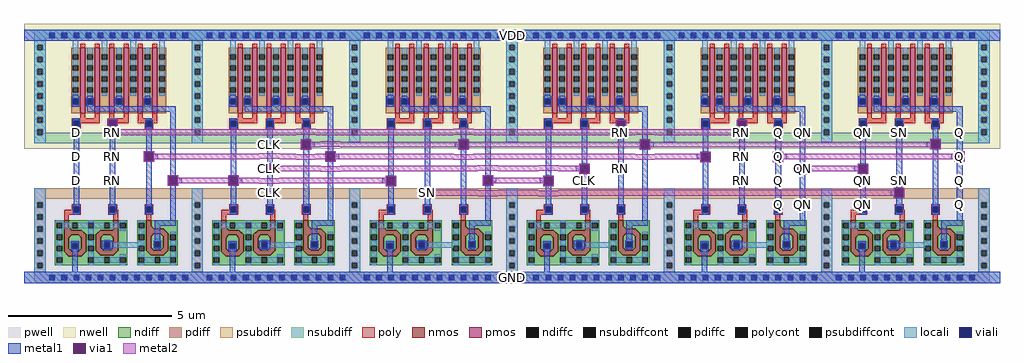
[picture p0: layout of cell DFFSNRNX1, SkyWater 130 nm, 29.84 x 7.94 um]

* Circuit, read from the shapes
.subckt DFFSNRNX1 Q QN D CLK SN RN VDD GND
XM1 n1 D GND GND sky130_fd_pr__nfet_01v8 w=2.6 l=0.1469
XM2 n1 RN n2 GND sky130_fd_pr__nfet_01v8 w=2.52 l=0.1484
XM3 n2 n3 n4 GND sky130_fd_pr__nfet_01v8 w=2.56 l=0.1468
XM4 n5 n4 GND GND sky130_fd_pr__nfet_01v8 w=2.6 l=0.1479
XM5 n5 CLK n6 GND sky130_fd_pr__nfet_01v8 w=2.52 l=0.1479
XM6 n6 n7 n3 GND sky130_fd_pr__nfet_01v8 w=2.56 l=0.1468
XM7 n8 n4 GND GND sky130_fd_pr__nfet_01v8 w=2.6 l=0.1474
XM8 n8 SN n9 GND sky130_fd_pr__nfet_01v8 w=2.52 l=0.1484
XM9 n9 n7 n10 GND sky130_fd_pr__nfet_01v8 w=2.56 l=0.1468
XM10 n11 n10 GND GND sky130_fd_pr__nfet_01v8 w=2.6 l=0.1473
XM11 n11 CLK n12 GND sky130_fd_pr__nfet_01v8 w=2.52 l=0.1483
XM12 n12 RN n7 GND sky130_fd_pr__nfet_01v8 w=2.56 l=0.1468
XM13 n13 n3 GND GND sky130_fd_pr__nfet_01v8 w=2.6 l=0.1472
XM14 n13 RN n14 GND sky130_fd_pr__nfet_01v8 w=2.52 l=0.1484
XM15 n14 Q QN GND sky130_fd_pr__nfet_01v8 w=2.56 l=0.1467
XM16 n15 QN GND GND sky130_fd_pr__nfet_01v8 w=2.6 l=0.1472
XM17 n15 SN n16 GND sky130_fd_pr__nfet_01v8 w=2.52 l=0.1483
XM18 n16 n7 Q GND sky130_fd_pr__nfet_01v8 w=2.56 l=0.1466
XM19 n4 D VDD VDD sky130_fd_pr__pfet_01v8 w=2 l=0.15 m=2
XM20 n4 RN VDD VDD sky130_fd_pr__pfet_01v8 w=2 l=0.15 m=2
XM21 n4 n3 VDD VDD sky130_fd_pr__pfet_01v8 w=2 l=0.15 m=2
XM22 n3 n4 VDD VDD sky130_fd_pr__pfet_01v8 w=2 l=0.15 m=2
XM23 n3 CLK VDD VDD sky130_fd_pr__pfet_01v8 w=2 l=0.15 m=2
XM24 n3 n7 VDD VDD sky130_fd_pr__pfet_01v8 w=2 l=0.15 m=2
XM25 n10 n4 VDD VDD sky130_fd_pr__pfet_01v8 w=2 l=0.15 m=2
XM26 n10 SN VDD VDD sky130_fd_pr__pfet_01v8 w=2 l=0.15 m=2
XM27 n10 n7 VDD VDD sky130_fd_pr__pfet_01v8 w=2 l=0.15 m=2
XM28 n7 n10 VDD VDD sky130_fd_pr__pfet_01v8 w=2 l=0.15 m=2
XM29 n7 CLK VDD VDD sky130_fd_pr__pfet_01v8 w=2 l=0.15 m=2
XM30 n7 RN VDD VDD sky130_fd_pr__pfet_01v8 w=2 l=0.15 m=2
XM31 QN n3 VDD VDD sky130_fd_pr__pfet_01v8 w=2 l=0.15 m=2
XM32 QN RN VDD VDD sky130_fd_pr__pfet_01v8 w=2 l=0.15 m=2
XM33 QN Q VDD VDD sky130_fd_pr__pfet_01v8 w=2 l=0.15 m=2
XM34 Q QN VDD VDD sky130_fd_pr__pfet_01v8 w=2 l=0.15 m=2
XM35 Q SN VDD VDD sky130_fd_pr__pfet_01v8 w=2 l=0.15 m=2
XM36 Q n7 VDD VDD sky130_fd_pr__pfet_01v8 w=2 l=0.15 m=2
.ends

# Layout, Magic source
magic
tech sky130A
magscale 1 2
<< nwell >>
rect 0 897 5968 1588
rect 0 881 513 897
rect 521 893 5968 897
rect 521 885 3617 893
rect 3627 888 4356 893
rect 4360 888 5968 893
rect 3627 885 5968 888
rect 521 881 5968 885
rect 0 822 5968 881
<< pwell >>
rect 155 19 189 53
rect 64 0 5904 2
<< psubdiff >>
rect 64 0 5904 2
<< nsubdiff >>
rect 64 1550 5904 1552
<< locali >>
rect 0 1482 5968 1552
rect 0 0 5968 70
<< metal1 >>
rect 0 1482 5968 1552
rect 510 1001 574 1007
rect 510 949 516 1001
rect 568 949 574 1001
rect 510 943 574 949
rect 3618 993 3682 999
rect 3618 941 3624 993
rect 3676 941 3682 993
rect 303 907 337 941
rect 525 907 559 941
rect 3618 935 3682 941
rect 4357 994 4421 1000
rect 4357 942 4363 994
rect 4415 942 4421 994
rect 5705 981 5739 1015
rect 4357 936 4421 942
rect 3633 907 3667 935
rect 4373 907 4407 936
rect 4595 907 4629 941
rect 4743 907 4777 941
rect 5113 907 5147 941
rect 5335 907 5369 941
rect 5705 907 5739 941
rect 1693 876 1757 882
rect 303 833 337 867
rect 525 833 559 867
rect 1487 833 1521 867
rect 1693 824 1699 876
rect 1751 824 1757 876
rect 1693 818 1757 824
rect 2655 876 2719 882
rect 2655 824 2661 876
rect 2713 824 2719 876
rect 2655 818 2719 824
rect 3766 876 3830 882
rect 3766 824 3772 876
rect 3824 824 3830 876
rect 3766 818 3830 824
rect 5542 879 5606 885
rect 5542 827 5548 879
rect 5600 827 5606 879
rect 5705 833 5739 867
rect 5542 821 5606 827
rect 732 802 796 808
rect 303 759 337 793
rect 525 759 559 793
rect 732 750 738 802
rect 790 750 796 802
rect 732 744 796 750
rect 1842 802 1906 808
rect 1842 750 1848 802
rect 1900 750 1906 802
rect 1842 744 1906 750
rect 4135 799 4199 805
rect 4135 747 4141 799
rect 4193 747 4199 799
rect 4578 799 4642 805
rect 4373 759 4407 793
rect 4135 741 4199 747
rect 4578 747 4584 799
rect 4636 747 4642 799
rect 4578 741 4642 747
rect 5689 801 5753 807
rect 5689 749 5695 801
rect 5747 749 5753 801
rect 5689 743 5753 749
rect 1471 729 1535 735
rect 303 685 337 719
rect 525 685 559 719
rect 1471 677 1477 729
rect 1529 677 1535 729
rect 1471 671 1535 677
rect 3395 725 3459 731
rect 3395 673 3401 725
rect 3453 673 3459 725
rect 4728 725 4792 731
rect 3633 685 3667 719
rect 4373 685 4407 719
rect 4595 685 4629 719
rect 3395 667 3459 673
rect 4728 673 4734 725
rect 4786 673 4792 725
rect 4728 667 4792 673
rect 5097 725 5161 731
rect 5097 673 5103 725
rect 5155 673 5161 725
rect 5335 685 5369 719
rect 5705 685 5739 719
rect 5097 667 5161 673
rect 880 656 944 662
rect 303 611 337 645
rect 525 611 559 645
rect 880 604 886 656
rect 938 604 944 656
rect 880 598 944 604
rect 1250 655 1314 661
rect 1250 603 1256 655
rect 1308 603 1314 655
rect 1250 597 1314 603
rect 2212 651 2276 657
rect 2212 599 2218 651
rect 2270 599 2276 651
rect 2804 654 2868 660
rect 2449 611 2483 645
rect 2212 593 2276 599
rect 2804 602 2810 654
rect 2862 602 2868 654
rect 2804 596 2868 602
rect 3174 653 3238 659
rect 3174 601 3180 653
rect 3232 601 3238 653
rect 3411 611 3445 645
rect 3633 611 3667 645
rect 4373 611 4407 645
rect 4595 611 4629 645
rect 4743 611 4777 645
rect 5113 611 5147 645
rect 5335 611 5369 645
rect 5705 611 5739 645
rect 3174 595 3238 601
rect 2434 581 2498 587
rect 303 537 337 571
rect 525 537 559 571
rect 1487 537 1521 571
rect 2434 529 2440 581
rect 2492 529 2498 581
rect 2434 523 2498 529
rect 5319 580 5383 586
rect 5319 528 5325 580
rect 5377 528 5383 580
rect 5705 537 5739 571
rect 5319 522 5383 528
rect 4595 463 4629 497
rect 4743 463 4777 497
rect 5113 463 5147 497
rect 5705 463 5739 497
rect 0 0 5968 70
<< via1 >>
rect 516 949 568 1001
rect 3624 941 3676 993
rect 4363 942 4415 994
rect 1699 824 1751 876
rect 2661 824 2713 876
rect 3772 824 3824 876
rect 5548 827 5600 879
rect 738 750 790 802
rect 1848 750 1900 802
rect 4141 747 4193 799
rect 4584 747 4636 799
rect 5695 749 5747 801
rect 1477 677 1529 729
rect 3401 673 3453 725
rect 4734 673 4786 725
rect 5103 673 5155 725
rect 886 604 938 656
rect 1256 603 1308 655
rect 2218 599 2270 651
rect 2810 602 2862 654
rect 3180 601 3232 653
rect 2440 529 2492 581
rect 5325 528 5377 580
<< metal2 >>
rect 510 1001 574 1007
rect 510 949 516 1001
rect 568 949 574 1001
rect 510 943 574 949
rect 3618 993 3682 999
rect 525 941 574 943
rect 1665 941 1785 944
rect 2627 941 2747 944
rect 3618 941 3624 993
rect 3676 941 3682 993
rect 4357 994 4421 1000
rect 3738 941 3858 943
rect 4357 942 4363 994
rect 4415 942 4421 994
rect 4357 941 4421 942
rect 525 936 4421 941
rect 525 910 4408 936
rect 525 907 1665 910
rect 1785 907 2627 910
rect 2747 907 3738 910
rect 3858 907 4408 910
rect 1693 876 1757 882
rect 1693 824 1699 876
rect 1751 867 1757 876
rect 2655 876 2719 882
rect 1814 867 1934 870
rect 2655 867 2661 876
rect 1751 836 2661 867
rect 1751 833 1814 836
rect 1934 833 2661 836
rect 1751 824 1757 833
rect 1693 818 1757 824
rect 2655 824 2661 833
rect 2713 867 2719 876
rect 3766 876 3830 882
rect 3766 867 3772 876
rect 2713 833 3772 867
rect 2713 824 2719 833
rect 2655 818 2719 824
rect 3766 824 3772 833
rect 3824 867 3830 876
rect 5542 879 5606 885
rect 5542 867 5548 879
rect 3824 833 5548 867
rect 3824 824 3830 833
rect 3766 818 3830 824
rect 5542 827 5548 833
rect 5600 827 5606 879
rect 5542 821 5606 827
rect 732 802 796 808
rect 732 750 738 802
rect 790 793 796 802
rect 1842 802 1906 808
rect 1443 793 1563 797
rect 1842 793 1848 802
rect 790 790 1665 793
rect 1785 790 1848 793
rect 790 763 1848 790
rect 790 759 1443 763
rect 1563 759 1848 763
rect 790 750 796 759
rect 1665 756 1785 759
rect 732 744 796 750
rect 1842 750 1848 759
rect 1900 793 1906 802
rect 4135 799 4199 805
rect 4135 793 4141 799
rect 1900 790 2627 793
rect 2747 790 3738 793
rect 3858 790 4141 793
rect 1900 759 4141 790
rect 1900 750 1906 759
rect 2627 756 2747 759
rect 3738 756 3858 759
rect 1842 744 1906 750
rect 4135 747 4141 759
rect 4193 747 4199 799
rect 4135 741 4199 747
rect 4578 799 4642 805
rect 4578 747 4584 799
rect 4636 793 4642 799
rect 5689 801 5753 807
rect 5689 793 5695 801
rect 4636 759 5695 793
rect 4636 747 4642 759
rect 4578 741 4642 747
rect 5689 749 5695 759
rect 5747 749 5753 801
rect 5689 743 5753 749
rect 1471 729 1535 735
rect 1471 677 1477 729
rect 1529 719 1535 729
rect 3395 725 3459 731
rect 2776 719 2896 722
rect 3146 719 3266 722
rect 3395 719 3401 725
rect 1529 716 1814 719
rect 1934 716 3401 719
rect 1529 688 3401 716
rect 1529 685 2776 688
rect 2896 685 3146 688
rect 3266 685 3401 688
rect 1529 677 1535 685
rect 1814 682 1934 685
rect 1471 671 1535 677
rect 3395 673 3401 685
rect 3453 673 3459 725
rect 3395 667 3459 673
rect 4728 725 4792 731
rect 4728 673 4734 725
rect 4786 719 4792 725
rect 5097 725 5161 731
rect 5097 719 5103 725
rect 4786 685 5103 719
rect 4786 673 4792 685
rect 4728 667 4792 673
rect 5097 673 5103 685
rect 5155 673 5161 725
rect 5097 667 5161 673
rect 880 656 944 662
rect 880 604 886 656
rect 938 646 944 656
rect 1250 655 1314 661
rect 1250 646 1256 655
rect 938 612 1256 646
rect 938 604 944 612
rect 880 598 944 604
rect 1250 603 1256 612
rect 1308 646 1314 655
rect 2212 651 2276 657
rect 2212 646 2218 651
rect 1308 643 1443 646
rect 1563 643 2218 646
rect 1308 612 2218 643
rect 1308 603 1314 612
rect 1443 609 1563 612
rect 1250 597 1314 603
rect 2212 599 2218 612
rect 2270 599 2276 651
rect 2212 593 2276 599
rect 2804 654 2868 660
rect 2804 602 2810 654
rect 2862 645 2868 654
rect 3174 653 3238 659
rect 3174 645 3180 653
rect 2862 611 3180 645
rect 2862 602 2868 611
rect 2804 596 2868 602
rect 3174 601 3180 611
rect 3232 601 3238 653
rect 3174 595 3238 601
rect 2434 581 2498 587
rect 2434 529 2440 581
rect 2492 571 2498 581
rect 5319 580 5383 586
rect 5319 571 5325 580
rect 2492 568 2776 571
rect 2896 568 3146 571
rect 2492 567 3146 568
rect 3266 567 5325 571
rect 2492 537 5325 567
rect 2492 529 2498 537
rect 2776 534 2896 537
rect 3146 533 3266 537
rect 2434 523 2498 529
rect 5319 528 5325 537
rect 5377 528 5383 580
rect 5319 522 5383 528
use li1_M1_contact  li1_M1_contact_1
transform -1 0 764 0 -1 776
box -53 -33 29 33
use li1_M1_contact  li1_M1_contact_3
transform -1 0 912 0 -1 629
box -53 -33 29 33
use li1_M1_contact  li1_M1_contact_4
transform -1 0 1725 0 -1 850
box -53 -33 29 33
use li1_M1_contact  li1_M1_contact_5
transform -1 0 1282 0 -1 629
box -53 -33 29 33
use li1_M1_contact  li1_M1_contact_6
transform -1 0 1504 0 -1 702
box -53 -33 29 33
use li1_M1_contact  li1_M1_contact_7
transform -1 0 1874 0 -1 776
box -53 -33 29 33
use li1_M1_contact  li1_M1_contact_8
transform 1 0 2244 0 1 629
box -53 -33 29 33
use li1_M1_contact  li1_M1_contact_9
transform 1 0 2688 0 1 850
box -53 -33 29 33
use li1_M1_contact  li1_M1_contact_10
transform -1 0 2466 0 -1 554
box -53 -33 29 33
use li1_M1_contact  li1_M1_contact_11
transform -1 0 2836 0 -1 628
box -53 -33 29 33
use li1_M1_contact  li1_M1_contact_13
transform -1 0 3798 0 -1 850
box -53 -33 29 33
use li1_M1_contact  li1_M1_contact_14
transform -1 0 4612 0 -1 776
box -53 -33 29 33
use li1_M1_contact  li1_M1_contact_15
transform -1 0 4760 0 -1 702
box -53 -33 29 33
use li1_M1_contact  li1_M1_contact_16
transform 1 0 3428 0 1 702
box -53 -33 29 33
use li1_M1_contact  li1_M1_contact_17
transform 1 0 3206 0 1 628
box -53 -33 29 33
use li1_M1_contact  li1_M1_contact_19
transform 1 0 4168 0 1 776
box -53 -33 29 33
use li1_M1_contact  li1_M1_contact_20
transform 1 0 5574 0 1 850
box -53 -33 29 33
use li1_M1_contact  li1_M1_contact_21
transform 1 0 5130 0 1 702
box -53 -33 29 33
use li1_M1_contact  li1_M1_contact_22
transform 1 0 5352 0 1 554
box -53 -33 29 33
use li1_M1_contact  li1_M1_contact_23
transform 1 0 5722 0 1 776
box -53 -33 29 33
use nand3x1_pcell  nand3x1_pcell_0
transform 1 0 98 0 1 36
box -87 -34 1049 1550
use nand3x1_pcell  nand3x1_pcell_1
transform 1 0 1060 0 1 36
box -87 -34 1049 1550
use nand3x1_pcell  nand3x1_pcell_2
transform 1 0 2022 0 1 36
box -87 -34 1049 1550
use nand3x1_pcell  nand3x1_pcell_3
transform 1 0 2984 0 1 36
box -87 -34 1049 1550
use nand3x1_pcell  nand3x1_pcell_4
transform 1 0 3946 0 1 36
box -87 -34 1049 1550
use nand3x1_pcell  nand3x1_pcell_5
transform 1 0 4908 0 1 36
box -87 -34 1049 1550
<< labels >>
rlabel metal1 5705 759 5739 793 1 Q
port 1 nsew signal output
rlabel metal1 5705 833 5739 867 1 Q
port 1 nsew signal output
rlabel metal1 5705 907 5739 941 1 Q
port 1 nsew signal output
rlabel metal1 5705 981 5739 1015 1 Q
port 1 nsew signal output
rlabel metal1 5705 685 5739 719 1 Q
port 1 nsew signal output
rlabel metal1 5705 611 5739 645 1 Q
port 1 nsew signal output
rlabel metal1 5705 537 5739 571 1 Q
port 1 nsew signal output
rlabel metal1 5705 463 5739 497 1 Q
port 1 nsew signal output
rlabel metal1 4595 463 4629 497 1 Q
port 1 nsew signal output
rlabel metal1 4595 611 4629 645 1 Q
port 1 nsew signal output
rlabel metal1 4595 685 4629 719 1 Q
port 1 nsew signal output
rlabel metal1 4595 759 4629 793 1 Q
port 1 nsew signal output
rlabel metal1 4595 907 4629 941 1 Q
port 1 nsew signal output
rlabel metal1 4743 685 4777 719 1 QN
port 2 nsew signal output
rlabel metal1 4743 907 4777 941 1 QN
port 2 nsew signal output
rlabel metal1 4743 611 4777 645 1 QN
port 2 nsew signal output
rlabel metal1 4743 463 4777 497 1 QN
port 2 nsew signal output
rlabel metal1 5113 463 5147 497 1 QN
port 2 nsew signal output
rlabel metal1 5113 611 5147 645 1 QN
port 2 nsew signal output
rlabel metal1 5113 685 5147 719 1 QN
port 2 nsew signal output
rlabel metal1 5113 907 5147 941 1 QN
port 2 nsew signal output
rlabel metal1 303 611 337 645 1 D
port 3 nsew signal input
rlabel metal1 303 537 337 571 1 D
port 3 nsew signal input
rlabel metal1 303 685 337 719 1 D
port 3 nsew signal input
rlabel metal1 303 759 337 793 1 D
port 3 nsew signal input
rlabel metal1 303 833 337 867 1 D
port 3 nsew signal input
rlabel metal1 303 907 337 941 1 D
port 3 nsew signal input
rlabel metal1 1487 685 1521 719 1 CLK
port 4 nsew signal input
rlabel metal1 1487 833 1521 867 1 CLK
port 4 nsew signal input
rlabel metal1 1487 537 1521 571 1 CLK
port 4 nsew signal input
rlabel metal1 3411 611 3445 645 1 CLK
port 4 nsew signal input
rlabel metal1 3411 685 3445 719 1 CLK
port 4 nsew signal input
rlabel metal1 2449 537 2483 571 1 SN
port 5 nsew signal input
rlabel metal1 2449 611 2483 645 1 SN
port 5 nsew signal input
rlabel metal1 5335 611 5369 645 1 SN
port 5 nsew signal input
rlabel metal1 5335 685 5369 719 1 SN
port 5 nsew signal input
rlabel metal1 5335 907 5369 941 1 SN
port 5 nsew signal input
rlabel metal1 5335 537 5369 571 1 SN
port 5 nsew signal input
rlabel metal1 525 907 559 941 1 RN
port 6 nsew signal input
rlabel metal1 525 833 559 867 1 RN
port 6 nsew signal input
rlabel metal1 525 759 559 793 1 RN
port 6 nsew signal input
rlabel metal1 525 685 559 719 1 RN
port 6 nsew signal input
rlabel metal1 525 611 559 645 1 RN
port 6 nsew signal input
rlabel metal1 525 537 559 571 1 RN
port 6 nsew signal input
rlabel metal1 3633 907 3667 941 1 RN
port 6 nsew signal input
rlabel metal1 3633 685 3667 719 1 RN
port 6 nsew signal input
rlabel metal1 3633 611 3667 645 1 RN
port 6 nsew signal input
rlabel metal1 4373 907 4407 941 1 RN
port 6 nsew signal input
rlabel metal1 4373 759 4407 793 1 RN
port 6 nsew signal input
rlabel metal1 4373 685 4407 719 1 RN
port 6 nsew signal input
rlabel metal1 4373 611 4407 645 1 RN
port 6 nsew signal input
rlabel metal1 0 1482 5968 1552 1 VDD
port 7 nsew power bidirectional abutment
rlabel metal1 0 0 5968 70 1 GND
port 8 nsew ground bidirectional abutment
<< properties >>
string FIXED_BBOX 0 0 5968 1552
string LEFclass CORE
string LEFsite unitrh
string LEFsymmetry X Y
<< end >>

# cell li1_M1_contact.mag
magic
tech sky130A
magscale 1 2
<< locali >>
rect -17 17 17 33
rect -17 -33 17 -17
<< viali >>
rect -17 -17 17 17
<< metal1 >>
rect -23 17 23 23
rect -53 -17 -17 17
rect 17 -17 29 17
rect -23 -23 23 -17
<< end >>

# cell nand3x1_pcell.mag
magic
tech sky130A
magscale 1 2
<< nwell >>
rect 87 1099 875 1550
rect 87 1093 220 1099
rect 87 1059 205 1093
rect 229 1059 263 1093
rect 87 1056 220 1059
rect 279 1056 875 1099
rect 87 786 875 1056
<< pwell >>
rect 34 -34 928 544
<< pdiffc >>
rect 201 1059 235 1093
rect 289 1059 323 1093
rect 465 1059 499 1093
rect 641 1059 675 1093
<< psubdiff >>
rect 34 482 928 544
rect 34 -17 57 17
rect 91 -17 131 17
rect 165 -17 205 17
rect 239 -17 279 17
rect 313 -17 353 17
rect 387 -17 427 17
rect 461 -17 501 17
rect 535 -17 575 17
rect 609 -17 649 17
rect 683 -17 723 17
rect 757 -17 797 17
rect 831 -17 871 17
rect 905 -17 928 17
rect 34 -34 928 -17
<< nsubdiff >>
rect 34 1497 928 1514
rect 34 1463 57 1497
rect 91 1463 131 1497
rect 165 1463 205 1497
rect 239 1463 279 1497
rect 313 1463 353 1497
rect 387 1463 427 1497
rect 461 1463 501 1497
rect 535 1463 575 1497
rect 609 1463 649 1497
rect 683 1463 723 1497
rect 757 1463 797 1497
rect 831 1463 871 1497
rect 905 1463 928 1497
rect 34 822 928 884
<< psubdiffcont >>
rect 57 -17 91 17
rect 131 -17 165 17
rect 205 -17 239 17
rect 279 -17 313 17
rect 353 -17 387 17
rect 427 -17 461 17
rect 501 -17 535 17
rect 575 -17 609 17
rect 649 -17 683 17
rect 723 -17 757 17
rect 797 -17 831 17
rect 871 -17 905 17
<< nsubdiffcont >>
rect 57 1463 91 1497
rect 131 1463 165 1497
rect 205 1463 239 1497
rect 279 1463 313 1497
rect 353 1463 387 1497
rect 427 1463 461 1497
rect 501 1463 535 1497
rect 575 1463 609 1497
rect 649 1463 683 1497
rect 723 1463 757 1497
rect 797 1463 831 1497
rect 871 1463 905 1497
<< poly >>
rect 147 383 195 413
rect 471 383 477 413
rect 147 377 177 383
rect 447 377 477 383
<< locali >>
rect 14 1497 943 1514
rect 14 1463 57 1497
rect 91 1463 131 1497
rect 165 1463 205 1497
rect 239 1463 279 1497
rect 313 1463 353 1497
rect 387 1463 427 1497
rect 461 1463 501 1497
rect 535 1463 575 1497
rect 609 1463 649 1497
rect 683 1463 723 1497
rect 757 1463 797 1497
rect 831 1463 871 1497
rect 905 1463 943 1497
rect 14 1446 943 1463
rect 201 1093 235 1120
rect 201 1043 235 1059
rect 289 1093 323 1112
rect 289 1043 323 1059
rect 465 1093 499 1117
rect 465 1043 499 1059
rect 641 1093 675 1112
rect 641 1043 675 1059
rect 427 182 603 216
rect 34 17 930 34
rect 34 -17 57 17
rect 91 -17 131 17
rect 165 -17 205 17
rect 239 -17 279 17
rect 313 -17 353 17
rect 387 -17 427 17
rect 461 -17 501 17
rect 535 -17 575 17
rect 609 -17 649 17
rect 683 -17 723 17
rect 757 -17 797 17
rect 831 -17 871 17
rect 905 -17 930 17
rect 34 -34 930 -17
<< viali >>
rect 57 1463 91 1497
rect 131 1463 165 1497
rect 205 1463 239 1497
rect 279 1463 313 1497
rect 353 1463 387 1497
rect 427 1463 461 1497
rect 501 1463 535 1497
rect 575 1463 609 1497
rect 649 1463 683 1497
rect 723 1463 757 1497
rect 797 1463 831 1497
rect 871 1463 905 1497
rect 201 1059 235 1093
rect 289 1059 323 1093
rect 465 1059 499 1093
rect 641 1059 675 1093
rect 205 923 239 957
rect 427 923 461 957
rect 649 923 683 957
rect 205 399 239 433
rect 427 399 461 433
rect 649 399 683 433
rect 198 176 232 210
rect 393 182 427 216
rect 700 185 734 219
rect 57 -17 91 17
rect 131 -17 165 17
rect 205 -17 239 17
rect 279 -17 313 17
rect 353 -17 387 17
rect 427 -17 461 17
rect 501 -17 535 17
rect 575 -17 609 17
rect 649 -17 683 17
rect 723 -17 757 17
rect 797 -17 831 17
rect 871 -17 905 17
<< metal1 >>
rect 34 1497 928 1514
rect 34 1463 57 1497
rect 91 1463 131 1497
rect 165 1463 205 1497
rect 239 1463 279 1497
rect 313 1463 353 1497
rect 387 1463 427 1497
rect 461 1463 501 1497
rect 535 1463 575 1497
rect 609 1463 649 1497
rect 683 1463 723 1497
rect 757 1463 797 1497
rect 831 1463 871 1497
rect 905 1463 928 1497
rect 34 1446 928 1463
rect 201 1107 235 1116
rect 193 1093 241 1107
rect 289 1099 323 1111
rect 465 1099 499 1111
rect 641 1099 675 1111
rect 193 1059 201 1093
rect 235 1059 241 1093
rect 193 1043 241 1059
rect 283 1093 330 1099
rect 283 1059 289 1093
rect 323 1059 330 1093
rect 283 1048 330 1059
rect 458 1093 506 1099
rect 458 1059 465 1093
rect 499 1059 506 1093
rect 458 1048 506 1059
rect 635 1093 681 1099
rect 635 1059 641 1093
rect 675 1059 681 1093
rect 635 1048 681 1059
rect 289 1014 831 1048
rect 205 967 239 969
rect 198 957 246 967
rect 427 963 461 969
rect 649 963 683 969
rect 198 923 205 957
rect 239 923 246 957
rect 198 915 246 923
rect 421 957 467 963
rect 421 923 427 957
rect 461 923 467 957
rect 421 917 467 923
rect 643 957 689 963
rect 643 923 649 957
rect 683 923 689 957
rect 205 439 239 915
rect 427 439 461 917
rect 643 914 689 923
rect 649 439 683 914
rect 199 433 245 439
rect 199 399 205 433
rect 239 399 245 433
rect 199 391 245 399
rect 421 433 468 439
rect 421 399 427 433
rect 461 399 468 433
rect 421 391 468 399
rect 643 433 689 439
rect 643 399 649 433
rect 683 399 689 433
rect 643 391 689 399
rect 205 383 239 391
rect 427 383 461 391
rect 649 383 683 391
rect 797 350 831 1014
rect 700 316 831 350
rect 700 225 734 316
rect 189 210 241 222
rect 189 176 198 210
rect 232 176 241 210
rect 189 167 241 176
rect 378 216 445 223
rect 378 182 393 216
rect 427 182 445 216
rect 378 173 445 182
rect 694 219 740 225
rect 694 185 700 219
rect 734 185 740 219
rect 694 179 740 185
rect 700 173 734 179
rect 198 34 232 167
rect 34 17 928 34
rect 34 -17 57 17
rect 91 -17 131 17
rect 165 -17 205 17
rect 239 -17 279 17
rect 313 -17 353 17
rect 387 -17 427 17
rect 461 -17 501 17
rect 535 -17 575 17
rect 609 -17 649 17
rect 683 -17 723 17
rect 757 -17 797 17
rect 831 -17 871 17
rect 905 -17 928 17
rect 34 -34 928 -17
use diff_ring_side  diff_ring_side_0
transform 1 0 962 0 1 0
box -87 -34 87 1550
use diff_ring_side  diff_ring_side_1
transform 1 0 0 0 1 0
box -87 -34 87 1550
use nmos_bottom  nmos_bottom_0
transform -1 0 339 0 1 75
box 0 0 248 302
use nmos_side_left  nmos_side_left_0
transform 1 0 285 0 1 75
box 0 0 248 302
use nmos_top_trim1  nmos_top_trim1_0
transform -1 0 841 0 1 75
box 0 0 248 309
use pmos2  pmos2_0
transform 1 0 103 0 1 1404
box 52 -461 352 42
use pmos2  pmos2_1
transform 1 0 279 0 1 1404
box 52 -461 352 42
use pmos2  pmos2_2
transform 1 0 455 0 1 1404
box 52 -461 352 42
use poly_li1_contact  poly_li1_contact_0
transform 0 1 223 -1 0 941
box -32 -28 34 26
use poly_li1_contact  poly_li1_contact_1
transform 0 -1 221 1 0 415
box -32 -28 34 26
use poly_li1_contact  poly_li1_contact_2
transform 0 -1 443 1 0 415
box -32 -28 34 26
use poly_li1_contact  poly_li1_contact_3
transform 0 -1 443 1 0 939
box -32 -28 34 26
use poly_li1_contact  poly_li1_contact_4
transform 0 -1 665 1 0 415
box -32 -28 34 26
use poly_li1_contact  poly_li1_contact_5
transform 0 1 667 -1 0 941
box -32 -28 34 26
<< end >>

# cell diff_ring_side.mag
magic
tech sky130A
magscale 1 2
<< nwell >>
rect -87 786 87 1550
<< pwell >>
rect -34 -34 34 544
<< psubdiff >>
rect -34 461 34 544
rect -34 427 -17 461
rect 17 427 34 461
rect -34 387 34 427
rect -34 353 -17 387
rect 17 353 34 387
rect -34 313 34 353
rect -34 279 -17 313
rect 17 279 34 313
rect -34 239 34 279
rect -34 205 -17 239
rect 17 205 34 239
rect -34 165 34 205
rect -34 131 -17 165
rect 17 131 34 165
rect -34 91 34 131
rect -34 57 -17 91
rect 17 57 34 91
rect -34 -34 34 57
<< nsubdiff >>
rect -34 1423 34 1514
rect -34 1389 -17 1423
rect 17 1389 34 1423
rect -34 1349 34 1389
rect -34 1315 -17 1349
rect 17 1315 34 1349
rect -34 1275 34 1315
rect -34 1241 -17 1275
rect 17 1241 34 1275
rect -34 1201 34 1241
rect -34 1167 -17 1201
rect 17 1167 34 1201
rect -34 1127 34 1167
rect -34 1093 -17 1127
rect 17 1093 34 1127
rect -34 1053 34 1093
rect -34 1019 -17 1053
rect 17 1019 34 1053
rect -34 979 34 1019
rect -34 945 -17 979
rect 17 945 34 979
rect -34 905 34 945
rect -34 871 -17 905
rect 17 871 34 905
rect -34 822 34 871
<< psubdiffcont >>
rect -17 427 17 461
rect -17 353 17 387
rect -17 279 17 313
rect -17 205 17 239
rect -17 131 17 165
rect -17 57 17 91
<< nsubdiffcont >>
rect -17 1389 17 1423
rect -17 1315 17 1349
rect -17 1241 17 1275
rect -17 1167 17 1201
rect -17 1093 17 1127
rect -17 1019 17 1053
rect -17 945 17 979
rect -17 871 17 905
<< locali >>
rect -34 1423 34 1514
rect -34 1389 -17 1423
rect 17 1389 34 1423
rect -34 1349 34 1389
rect -34 1315 -17 1349
rect 17 1315 34 1349
rect -34 1275 34 1315
rect -34 1241 -17 1275
rect 17 1241 34 1275
rect -34 1201 34 1241
rect -34 1167 -17 1201
rect 17 1167 34 1201
rect -34 1127 34 1167
rect -34 1093 -17 1127
rect 17 1093 34 1127
rect -34 1053 34 1093
rect -34 1019 -17 1053
rect 17 1019 34 1053
rect -34 979 34 1019
rect -34 945 -17 979
rect 17 945 34 979
rect -34 905 34 945
rect -34 871 -17 905
rect 17 871 34 905
rect -34 822 34 871
rect -34 461 34 544
rect -34 427 -17 461
rect 17 427 34 461
rect -34 387 34 427
rect -34 353 -17 387
rect 17 353 34 387
rect -34 313 34 353
rect -34 279 -17 313
rect 17 279 34 313
rect -34 239 34 279
rect -34 205 -17 239
rect 17 205 34 239
rect -34 165 34 205
rect -34 131 -17 165
rect 17 131 34 165
rect -34 91 34 131
rect -34 57 -17 91
rect 17 57 34 91
rect -34 -34 34 57
<< metal1 >>
rect -34 1446 34 1514
rect -34 -34 34 34
<< end >>

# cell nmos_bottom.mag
magic
tech sky130A
magscale 1 2
<< nmos >>
tri 146 215 162 231 se
rect 162 215 192 276
tri 56 185 86 215 se
rect 86 185 192 215
rect 56 84 86 185
tri 86 169 102 185 nw
tri 146 169 162 185 ne
tri 86 84 102 100 sw
tri 146 84 162 100 se
rect 162 84 192 185
tri 56 54 86 84 ne
rect 86 54 162 84
tri 162 54 192 84 nw
<< ndiff >>
rect 0 260 162 276
rect 0 226 10 260
rect 44 226 107 260
rect 141 231 162 260
rect 141 226 146 231
rect 0 215 146 226
tri 146 215 162 231 nw
rect 192 260 248 276
rect 192 226 204 260
rect 238 226 248 260
rect 0 188 56 215
rect 0 154 10 188
rect 44 154 56 188
tri 56 185 86 215 nw
rect 192 188 248 226
rect 0 120 56 154
rect 0 86 10 120
rect 44 86 56 120
rect 0 54 56 86
tri 86 169 102 185 se
rect 102 169 146 185
tri 146 169 162 185 sw
rect 86 135 162 169
rect 86 101 107 135
rect 141 101 162 135
rect 86 100 162 101
tri 86 84 102 100 ne
rect 102 84 146 100
tri 146 84 162 100 nw
rect 192 154 204 188
rect 238 154 248 188
rect 192 120 248 154
rect 192 86 204 120
rect 238 86 248 120
tri 56 54 86 84 sw
tri 162 54 192 84 se
rect 192 54 248 86
rect 0 50 248 54
rect 0 16 10 50
rect 44 16 204 50
rect 238 16 248 50
rect 0 0 248 16
<< ndiffc >>
rect 10 226 44 260
rect 107 226 141 260
rect 204 226 238 260
rect 10 154 44 188
rect 10 86 44 120
rect 107 101 141 135
rect 204 154 238 188
rect 204 86 238 120
rect 10 16 44 50
rect 204 16 238 50
<< poly >>
rect 162 276 192 302
<< locali >>
rect 10 260 44 276
rect 204 260 238 276
rect 44 226 107 260
rect 141 226 204 260
rect 10 188 44 226
rect 10 120 44 154
rect 204 188 238 226
rect 10 50 44 86
rect 107 135 141 151
rect 107 85 141 101
rect 204 120 238 154
rect 10 0 44 16
rect 204 50 238 86
rect 204 0 238 16
<< end >>

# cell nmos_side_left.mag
magic
tech sky130
magscale 1 2
<< nmos >>
rect 162 215 192 276
tri 57 185 87 215 se
rect 87 185 192 215
rect 57 91 87 185
tri 87 169 103 185 nw
tri 146 169 162 185 ne
tri 87 91 103 107 sw
tri 146 91 162 107 se
rect 162 91 192 185
tri 57 61 87 91 ne
rect 87 61 162 91
tri 162 61 192 91 nw
<< ndiff >>
rect 0 260 162 276
rect 0 226 10 260
rect 44 226 107 260
rect 141 226 162 260
rect 0 215 162 226
rect 192 260 248 276
rect 192 226 204 260
rect 238 226 248 260
rect 0 188 57 215
rect 0 154 10 188
rect 44 154 57 188
tri 57 185 87 215 nw
rect 0 120 57 154
rect 0 86 10 120
rect 44 86 57 120
tri 87 169 103 185 se
rect 103 169 146 185
tri 146 169 162 185 sw
rect 87 141 162 169
rect 87 107 108 141
rect 142 107 162 141
tri 87 91 103 107 ne
rect 103 91 146 107
tri 146 91 162 107 nw
rect 0 61 57 86
tri 57 61 87 91 sw
tri 162 61 192 91 se
rect 192 61 248 226
rect 0 50 248 61
rect 0 16 10 50
rect 44 16 107 50
rect 141 16 204 50
rect 238 16 248 50
rect 0 0 248 16
<< ndiffc >>
rect 10 226 44 260
rect 107 226 141 260
rect 204 226 238 260
rect 10 154 44 188
rect 10 86 44 120
rect 108 107 142 141
rect 10 16 44 50
rect 107 16 141 50
rect 204 16 238 50
<< poly >>
rect 162 276 192 302
<< locali >>
rect 10 260 44 276
rect 204 260 238 276
rect 44 226 107 260
rect 141 226 204 260
rect 10 188 44 226
rect 204 210 238 226
rect 10 120 44 154
rect 108 141 142 157
rect 108 91 142 107
rect 10 50 44 86
rect 204 50 238 66
rect 44 16 107 50
rect 141 16 204 50
rect 10 0 44 16
rect 204 0 238 16
<< end >>

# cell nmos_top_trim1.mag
magic
tech sky130
magscale 1 2
<< nmos >>
tri 146 223 162 239 se
rect 162 223 192 276
tri 56 193 86 223 se
rect 86 193 192 223
rect 56 92 86 193
tri 86 177 102 193 nw
tri 146 177 162 193 ne
tri 86 92 102 108 sw
tri 146 92 162 108 se
rect 162 92 192 193
tri 56 62 86 92 ne
rect 86 62 162 92
tri 162 62 192 92 nw
<< ndiff >>
rect 0 239 162 276
rect 0 223 146 239
tri 146 223 162 239 nw
rect 192 260 248 276
rect 192 226 204 260
rect 238 226 248 260
rect 0 188 56 223
tri 56 193 86 223 nw
rect 0 154 10 188
rect 44 154 56 188
rect 0 120 56 154
rect 0 86 10 120
rect 44 86 56 120
tri 86 177 102 193 se
rect 102 177 146 193
tri 146 177 162 193 sw
rect 86 144 162 177
rect 86 110 107 144
rect 141 110 162 144
rect 86 108 162 110
tri 86 92 102 108 ne
rect 102 92 146 108
tri 146 92 162 108 nw
rect 192 188 248 226
rect 192 154 204 188
rect 238 154 248 188
rect 192 120 248 154
rect 0 62 56 86
tri 56 62 86 92 sw
tri 162 62 192 92 se
rect 192 86 204 120
rect 238 86 248 120
rect 192 62 248 86
rect 0 50 248 62
rect 0 16 10 50
rect 44 16 107 50
rect 141 16 204 50
rect 238 16 248 50
rect 0 0 248 16
<< ndiffc >>
rect 204 226 238 260
rect 10 154 44 188
rect 10 86 44 120
rect 107 110 141 144
rect 204 154 238 188
rect 204 86 238 120
rect 10 16 44 50
rect 107 16 141 50
rect 204 16 238 50
<< poly >>
rect 162 276 192 309
<< locali >>
rect 204 260 238 276
rect 10 188 44 204
rect 204 188 238 226
rect 10 120 44 154
rect 107 144 141 161
rect 107 94 141 110
rect 204 120 238 154
rect 10 50 44 86
rect 204 50 238 86
rect 44 16 107 50
rect 141 16 204 50
rect 10 0 44 16
rect 204 0 238 16
<< end >>

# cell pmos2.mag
magic
tech sky130A
magscale 1 2
<< nwell >>
rect 52 -436 352 36
<< pmos >>
rect 144 -400 174 0
rect 232 -400 262 0
<< pdiff >>
rect 88 -38 144 0
rect 88 -72 98 -38
rect 132 -72 144 -38
rect 88 -106 144 -72
rect 88 -140 98 -106
rect 132 -140 144 -106
rect 88 -174 144 -140
rect 88 -208 98 -174
rect 132 -208 144 -174
rect 88 -242 144 -208
rect 88 -276 98 -242
rect 132 -276 144 -242
rect 88 -400 144 -276
rect 174 -38 232 0
rect 174 -72 186 -38
rect 220 -72 232 -38
rect 174 -106 232 -72
rect 174 -140 186 -106
rect 220 -140 232 -106
rect 174 -174 232 -140
rect 174 -208 186 -174
rect 220 -208 232 -174
rect 174 -242 232 -208
rect 174 -276 186 -242
rect 220 -276 232 -242
rect 174 -400 232 -276
rect 262 -38 316 0
rect 262 -72 274 -38
rect 308 -72 316 -38
rect 262 -106 316 -72
rect 262 -140 274 -106
rect 308 -140 316 -106
rect 262 -174 316 -140
rect 262 -208 274 -174
rect 308 -208 316 -174
rect 262 -242 316 -208
rect 262 -276 274 -242
rect 308 -276 316 -242
rect 262 -400 316 -276
<< pdiffc >>
rect 98 -72 132 -38
rect 98 -140 132 -106
rect 98 -208 132 -174
rect 98 -276 132 -242
rect 186 -72 220 -38
rect 186 -140 220 -106
rect 186 -208 220 -174
rect 186 -276 220 -242
rect 274 -72 308 -38
rect 274 -140 308 -106
rect 274 -208 308 -174
rect 274 -276 308 -242
<< poly >>
rect 144 0 174 26
rect 232 0 262 26
rect 144 -431 174 -400
rect 232 -431 262 -400
rect 144 -461 262 -431
<< locali >>
rect 98 -38 132 42
rect 98 -106 132 -72
rect 98 -174 132 -140
rect 98 -242 132 -208
rect 98 -293 132 -276
rect 186 -38 220 0
rect 186 -106 220 -72
rect 186 -174 220 -140
rect 186 -242 220 -208
rect 186 -293 220 -276
rect 274 -38 308 42
rect 274 -106 308 -72
rect 274 -174 308 -140
rect 274 -242 308 -208
rect 274 -293 308 -276
<< end >>

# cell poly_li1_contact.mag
magic
tech sky130
<< poly >>
rect -16 8 17 13
rect -16 -9 -8 8
rect 9 -9 17 8
rect -16 -14 17 -9
<< polycont >>
rect -8 -9 9 8
<< locali >>
rect -16 -9 -8 8
rect 9 -9 17 8
<< end >>
